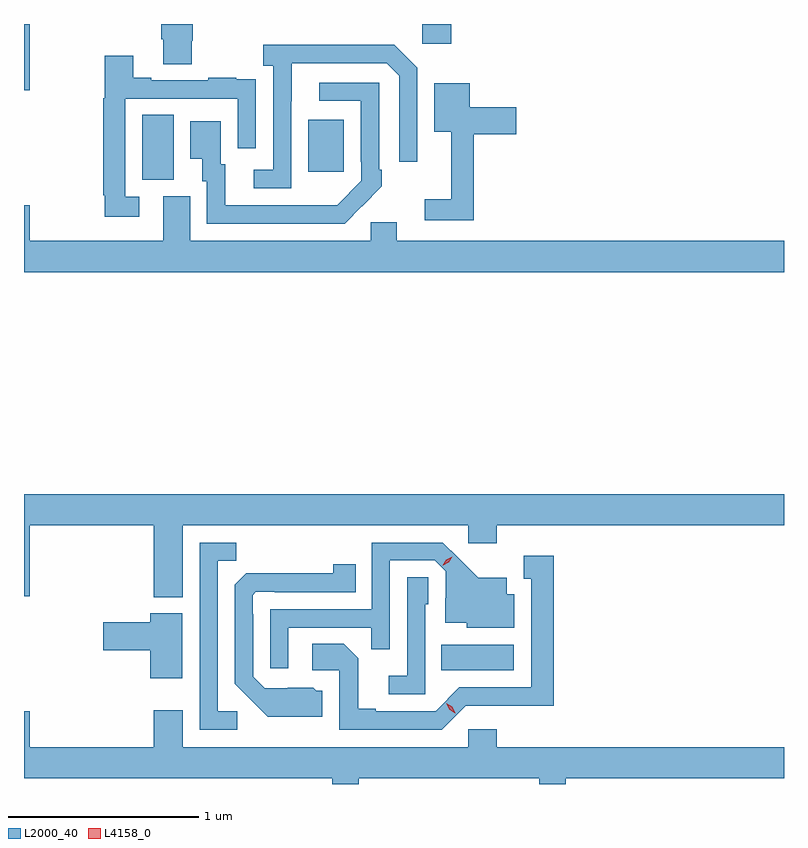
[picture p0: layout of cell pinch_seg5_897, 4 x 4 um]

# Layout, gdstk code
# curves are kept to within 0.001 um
import gdstk
lib = gdstk.Library(unit=1e-6, precision=1e-09)
def R(c, l, rs):  # rectangles x0, y0, x1, y1
    for r in rs: c.add(gdstk.rectangle(r[:2], r[2:], *l))
def P(c, l, *ps):  # polygons
    for p in ps: c.add(gdstk.Polygon(p, *l))
L2000_40 = (2000, 40)
L4158_0 = (4158, 0)

pinch_seg5_897 = lib.new_cell('pinch_seg5_897')
R(pinch_seg5_897, L2000_40, [(706.798,910.61,707.179,910.744), (705.224,913.189,705.388,913.532), (706.097,913.233,706.285,913.507), (704.601,913.662,704.632,914.01), (706.698,913.905,706.85,914.01)])
P(pinch_seg5_897, L2000_40, [(705.483,913.923),(705.488,913.923),(705.488,914.01),(705.323,914.01),(705.323,913.93),(705.335,913.93),(705.335,913.798),(705.483,913.798)],
  [(706.008,913.603),(706.009,913.803),(706.509,913.803),(706.575,913.737),(706.575,913.284),(706.671,913.284),(706.671,913.779),(706.55,913.9),(705.861,913.9),(705.861,913.79),(705.912,913.79),(705.912,913.242),(705.81,913.242),(705.81,913.146),(706.008,913.146)],
  [(705.208,913.101),(705.135,913.101),(705.135,913.617),(705.726,913.617),(705.726,913.356),(705.822,913.356),(705.822,913.61),(705.821,913.61),(705.821,913.719),(705.719,913.719),(705.719,913.726),(705.571,913.726),(705.571,913.713),(705.271,913.713),(705.271,913.726),(705.175,913.726),(705.175,913.843),(705.027,913.843),(705.027,913.62),(705.019,913.62),(705.019,913.108),(705.027,913.108),(705.027,912.996),(705.208,912.996)],
  [(706.379,913.051),(706.38,913.05),(706.485,913.155),(706.485,913.243),(706.47,913.243),(706.47,913.701),(706.155,913.701),(706.155,913.605),(706.374,913.605),(706.374,913.285),(706.377,913.285),(706.377,913.185),(706.249,913.057),(705.661,913.056),(705.661,913.272),(705.637,913.272),(705.637,913.498),(705.476,913.498),(705.476,913.301),(705.539,913.301),(705.539,913.182),(705.564,913.182),(705.564,912.96),(706.288,912.96)],
  [(706.967,913.43),(707.191,913.43),(707.191,913.572),(706.948,913.572),(706.948,913.699),(706.76,913.699),(706.76,913.442),(706.85,913.442),(706.85,913.087),(706.71,913.087),(706.71,912.978),(706.967,912.978)],
  [(708.601,912.868),(706.564,912.868),(706.564,912.966),(706.425,912.966),(706.425,912.868),(705.475,912.868),(705.475,913.104),(705.335,913.104),(705.335,912.868),(704.632,912.868),(704.632,913.057),(704.601,913.057),(704.601,912.704),(708.601,912.704)],
  [(705.436,911.372),(706.938,911.372),(706.938,911.277),(707.09,911.277),(707.09,911.372),(708.601,911.372),(708.601,911.536),(704.601,911.536),(704.601,910.998),(704.632,910.998),(704.632,911.372),(705.284,911.372),(705.284,910.994),(705.436,910.994)],
  [(705.993,910.833),(706.429,910.833),(706.429,910.72),(706.527,910.72),(706.527,911.187),(706.764,911.187),(706.821,911.13),(706.821,910.988),(706.817,910.988),(706.817,910.859),(706.932,910.859),(706.932,910.832),(707.182,910.832),(707.182,911.008),(707.143,911.008),(707.143,911.095),(706.991,911.095),(706.804,911.28),(706.431,911.28),(706.431,910.929),(705.897,910.929),(705.897,910.62),(705.993,910.62)],
  [(705.724,910.392),(705.621,910.392),(705.621,911.185),(705.717,911.185),(705.717,911.28),(705.525,911.28),(705.525,910.296),(705.724,910.296)],
  [(706.926,910.422),(707.389,910.421),(707.389,911.212),(707.231,911.212),(707.231,911.091),(707.27,911.091),(707.27,910.518),(706.893,910.518),(706.767,910.392),(706.453,910.392),(706.453,910.405),(706.359,910.405),(706.359,910.672),(706.283,910.748),(706.119,910.748),(706.119,910.608),(706.26,910.608),(706.26,910.296),(706.8,910.296)],
  [(706.171,910.5),(706.14,910.5),(706.124,910.516),(705.867,910.515),(705.807,910.575),(705.807,910.904),(705.804,910.904),(705.804,911.004),(705.822,911.022),(705.922,911.022),(705.922,911.019),(706.346,911.019),(706.346,911.167),(706.228,911.167),(706.228,911.12),(705.77,911.119),(705.711,911.06),(705.711,910.538),(705.883,910.364),(706.171,910.364)],
  [(706.713,910.956),(706.728,910.956),(706.728,911.099),(706.617,911.099),(706.617,910.579),(706.521,910.579),(706.521,910.482),(706.713,910.482)],
  [(705.433,910.909),(705.266,910.909),(705.266,910.862),(705.018,910.862),(705.018,910.715),(705.266,910.715),(705.266,910.566),(705.433,910.566)],
  [(706.363,910.04),(707.313,910.04),(707.313,910.01),(707.452,910.01),(707.452,910.04),(708.601,910.04),(708.601,910.204),(707.09,910.204),(707.09,910.297),(706.938,910.297),(706.938,910.204),(705.436,910.204),(705.436,910.399),(705.284,910.399),(705.284,910.204),(704.632,910.204),(704.632,910.393),(704.601,910.393),(704.601,910.04),(706.223,910.04),(706.223,910.01),(706.363,910.01)])
P(pinch_seg5_897, L4158_0, [(706.872,910.383),(706.841,910.402),(706.824,910.435),(706.824,910.435),(706.824,910.435),(706.855,910.416),(706.872,910.383),(706.872,910.383)],
  [(706.806,911.161),(706.806,911.161),(706.824,911.191),(706.854,911.205),(706.855,911.205),(706.855,911.205),(706.837,911.176),(706.807,911.161)])

lib.write_gds('pinch_seg5_897.gds')
